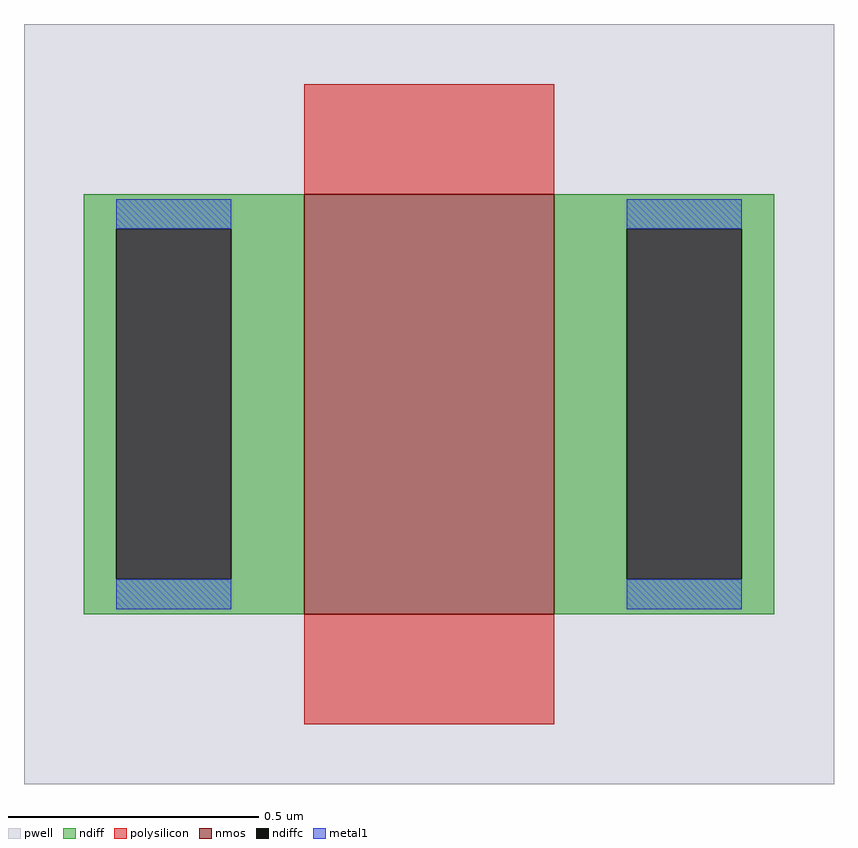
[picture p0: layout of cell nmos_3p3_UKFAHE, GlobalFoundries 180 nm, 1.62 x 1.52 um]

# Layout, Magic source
magic
tech gf180mcuD
magscale 1 10
<< pwell >>
rect -162 -152 162 152
<< nmos >>
rect -50 -84 50 84
<< ndiff >>
rect -138 70 -50 84
rect -138 -70 -125 70
rect -79 -70 -50 70
rect -138 -84 -50 -70
rect 50 70 138 84
rect 50 -70 79 70
rect 125 -70 138 70
rect 50 -84 138 -70
<< ndiffc >>
rect -125 -70 -79 70
rect 79 -70 125 70
<< polysilicon >>
rect -50 84 50 128
rect -50 -128 50 -84
<< metal1 >>
rect -125 70 -79 82
rect -125 -82 -79 -70
rect 79 70 125 82
rect 79 -82 125 -70
<< end >>
